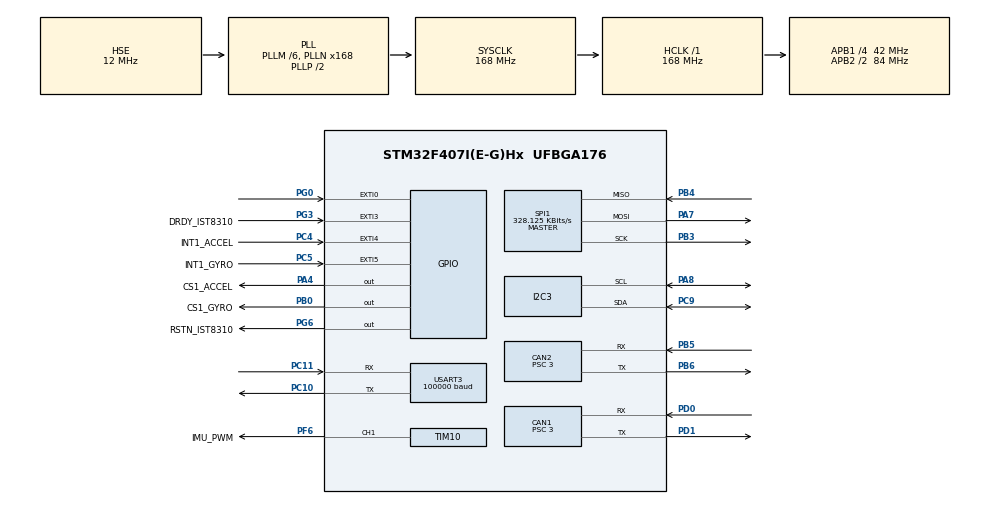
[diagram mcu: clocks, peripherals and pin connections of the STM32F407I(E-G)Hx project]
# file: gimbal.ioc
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CAN1.BS1=CAN_BS1_5TQ
CAN1.BS2=CAN_BS2_8TQ
CAN1.CalculateBaudRate=1000000
CAN1.CalculateTimeBit=1000
CAN1.CalculateTimeQuantum=71.42857142857143
CAN1.Prescaler=3
CAN2.ABOM=DISABLE
CAN2.AWUM=DISABLE
CAN2.BS1=CAN_BS1_5TQ
CAN2.BS2=CAN_BS2_8TQ
CAN2.CalculateBaudRate=1000000
CAN2.CalculateTimeBit=1000
CAN2.CalculateTimeQuantum=71.42857142857143
CAN2.Prescaler=3
Dma.Request0=SPI1_RX
Dma.Request1=SPI1_TX
Dma.Request2=USART3_RX
Dma.SPI1_RX.0.Direction=DMA_PERIPH_TO_MEMORY
Dma.SPI1_RX.0.FIFOMode=DMA_FIFOMODE_DISABLE
Dma.SPI1_RX.0.Instance=DMA2_Stream2
Dma.SPI1_RX.0.MemDataAlignment=DMA_MDATAALIGN_BYTE
Dma.SPI1_RX.0.MemInc=DMA_MINC_ENABLE
Dma.SPI1_RX.0.Mode=DMA_NORMAL
Dma.SPI1_RX.0.PeriphDataAlignment=DMA_PDATAALIGN_BYTE
Dma.SPI1_RX.0.PeriphInc=DMA_PINC_DISABLE
Dma.SPI1_RX.0.Priority=DMA_PRIORITY_VERY_HIGH
Dma.SPI1_TX.1.Direction=DMA_MEMORY_TO_PERIPH
Dma.SPI1_TX.1.FIFOMode=DMA_FIFOMODE_DISABLE
Dma.SPI1_TX.1.Instance=DMA2_Stream3
Dma.SPI1_TX.1.MemDataAlignment=DMA_MDATAALIGN_BYTE
Dma.SPI1_TX.1.MemInc=DMA_MINC_ENABLE
Dma.SPI1_TX.1.Mode=DMA_NORMAL
Dma.SPI1_TX.1.PeriphDataAlignment=DMA_PDATAALIGN_BYTE
Dma.SPI1_TX.1.PeriphInc=DMA_PINC_DISABLE
Dma.SPI1_TX.1.Priority=DMA_PRIORITY_HIGH
Dma.USART3_RX.2.Direction=DMA_PERIPH_TO_MEMORY
Dma.USART3_RX.2.FIFOMode=DMA_FIFOMODE_DISABLE
Dma.USART3_RX.2.Instance=DMA1_Stream1
Dma.USART3_RX.2.MemDataAlignment=DMA_MDATAALIGN_BYTE
Dma.USART3_RX.2.MemInc=DMA_MINC_ENABLE
Dma.USART3_RX.2.Mode=DMA_NORMAL
Dma.USART3_RX.2.PeriphDataAlignment=DMA_PDATAALIGN_BYTE
Dma.USART3_RX.2.PeriphInc=DMA_PINC_DISABLE
Dma.USART3_RX.2.Priority=DMA_PRIORITY_MEDIUM
I2C3.I2C_Mode=I2C_Fast
Mcu.Family=STM32F4
Mcu.Name=STM32F407I(E-G)Hx
Mcu.Package=UFBGA176
NVIC.CAN1_RX0_IRQn=true\:1\:0\:true\:false\:true\:true\:true\:true
NVIC.CAN1_TX_IRQn=true\:1\:0\:true\:false\:true\:true\:true\:true
NVIC.CAN2_RX0_IRQn=true\:1\:0\:true\:false\:true\:true\:true\:true
NVIC.DMA1_Stream1_IRQn=true\:0\:0\:false\:false\:true\:false\:true\:true
NVIC.DMA2_Stream2_IRQn=true\:0\:0\:true\:false\:true\:false\:true\:true
NVIC.DMA2_Stream3_IRQn=true\:0\:0\:false\:false\:true\:false\:true\:true
NVIC.EXTI0_IRQn=true\:2\:0\:true\:false\:true\:true\:true\:true
NVIC.EXTI3_IRQn=true\:1\:0\:true\:false\:true\:true\:true\:true
NVIC.EXTI4_IRQn=true\:1\:0\:true\:false\:true\:true\:true\:true
NVIC.EXTI9_5_IRQn=true\:1\:0\:true\:false\:true\:true\:true\:true
NVIC.PriorityGroup=NVIC_PRIORITYGROUP_4
NVIC.TIM2_IRQn=true\:1\:0\:true\:false\:true\:true\:true\:true
NVIC.USART3_IRQn=true\:1\:0\:true\:false\:true\:true\:true\:true
PA13.Mode=Serial_Wire
PA13.Signal=SYS_JTMS-SWDIO
PA14.Mode=Serial_Wire
PA14.Signal=SYS_JTCK-SWCLK
PA4.GPIO_Label=CS1_ACCEL
PA4.GPIO_PuPd=GPIO_PULLUP
PA4.GPIO_Speed=GPIO_SPEED_FREQ_HIGH
PA4.PinState=GPIO_PIN_SET
PA4.Signal=GPIO_Output
PA7.Mode=Full_Duplex_Master
PA7.Signal=SPI1_MOSI
PA8.Mode=I2C
PA8.Signal=I2C3_SCL
PB0.GPIO_Label=CS1_GYRO
PB0.GPIO_PuPd=GPIO_PULLUP
PB0.GPIO_Speed=GPIO_SPEED_FREQ_HIGH
PB0.PinState=GPIO_PIN_SET
PB0.Signal=GPIO_Output
PB3.Mode=Full_Duplex_Master
PB3.Signal=SPI1_SCK
PB4.Mode=Full_Duplex_Master
PB4.Signal=SPI1_MISO
PB5.Mode=CAN_Activate
PB5.Signal=CAN2_RX
PB6.Mode=CAN_Activate
PB6.Signal=CAN2_TX
PC10.Mode=Asynchronous
PC10.Signal=USART3_TX
PC11.Mode=Asynchronous
PC11.Signal=USART3_RX
PC4.GPIO_Label=INT1_ACCEL
PC4.GPIO_PuPd=GPIO_PULLUP
PC4.Signal=GPXTI4
PC5.GPIO_Label=INT1_GYRO
PC5.GPIO_PuPd=GPIO_PULLUP
PC5.Signal=GPXTI5
PC9.Mode=I2C
PC9.Signal=I2C3_SDA
PD0.Mode=CAN_Activate
PD0.Signal=CAN1_RX
PD1.Mode=CAN_Activate
PD1.Signal=CAN1_TX
PF6.GPIO_Label=IMU_PWM
PF6.GPIO_PuPd=GPIO_PULLUP
PF6.GPIO_Speed=GPIO_SPEED_FREQ_HIGH
PF6.Signal=S_TIM10_CH1
PG0.GPIO_PuPd=GPIO_PULLUP
PG0.Signal=GPXTI0
PG3.GPIO_Label=DRDY_IST8310
PG3.GPIO_PuPd=GPIO_PULLUP
PG3.Signal=GPXTI3
PG6.GPIO_Label=RSTN_IST8310
PG6.GPIO_PuPd=GPIO_PULLUP
PG6.GPIO_Speed=GPIO_SPEED_FREQ_HIGH
PG6.PinState=GPIO_PIN_SET
PG6.Signal=GPIO_Output
PH0-OSC_IN.Mode=HSE-External-Oscillator
PH0-OSC_IN.Signal=RCC_OSC_IN
PH1-OSC_OUT.Mode=HSE-External-Oscillator
PH1-OSC_OUT.Signal=RCC_OSC_OUT
ProjectManager.HeapSize=0x200
ProjectManager.StackSize=0x400
ProjectManager.TargetToolchain=MDK-ARM V5.32
RCC.48MHZClocksFreq_Value=84000000
RCC.AHBFreq_Value=168000000
RCC.APB1CLKDivider=RCC_HCLK_DIV4
RCC.APB1Freq_Value=42000000
RCC.APB1TimFreq_Value=84000000
RCC.APB2CLKDivider=RCC_HCLK_DIV2
RCC.APB2Freq_Value=84000000
RCC.APB2TimFreq_Value=168000000
RCC.CortexFreq_Value=168000000
RCC.HCLKFreq_Value=168000000
RCC.HSE_VALUE=12000000
RCC.HSI_VALUE=16000000
RCC.LSE_VALUE=32768
RCC.PLLM=6
RCC.PLLN=168
RCC.PLLSourceVirtual=RCC_PLLSOURCE_HSE
RCC.SYSCLKFreq_VALUE=168000000
RCC.SYSCLKSource=RCC_SYSCLKSOURCE_PLLCLK
RCC.VCOOutputFreq_Value=336000000
SH.S_TIM10_CH1.0=TIM10_CH1,PWM Generation1 CH1
SPI1.BaudRatePrescaler=SPI_BAUDRATEPRESCALER_256
SPI1.CLKPhase=SPI_PHASE_2EDGE
SPI1.CLKPolarity=SPI_POLARITY_HIGH
SPI1.CalculateBaudRate=328.125 KBits/s
SPI1.Direction=SPI_DIRECTION_2LINES
SPI1.Mode=SPI_MODE_MASTER
SPI1.VirtualType=VM_MASTER
TIM10.Channel=TIM_CHANNEL_1
TIM10.Period=4999
TIM2.AutoReloadPreload=TIM_AUTORELOAD_PRELOAD_ENABLE
TIM2.Period=1000-1
TIM2.Prescaler=84-1
USART3.BaudRate=100000
USART3.Parity=PARITY_EVEN
USART3.VirtualMode=VM_ASYNC
VP_TIM10_VS_ClockSourceINT.Mode=Enable_Timer
VP_TIM2_VS_ClockSourceINT.Mode=Internal
board=custom

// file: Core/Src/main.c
/* USER CODE BEGIN Header */
/**
  ******************************************************************************
  * @file           : main.c
  * @brief          : Main program body
  ******************************************************************************
  * @attention
  *
  * Copyright (c) 2024 STMicroelectronics.
  * All rights reserved.
  *
  * This software is licensed under terms that can be found in the LICENSE file
  * in the root directory of this software component.
  * If no LICENSE file comes with this software, it is provided AS-IS.
  *
  ******************************************************************************
  */
/* USER CODE END Header */
#include "main.h"
#include "can.h"
#include "dma.h"
#include "i2c.h"
#include "spi.h"
#include "tim.h"
#include "usart.h"
#include "gpio.h"

/* USER CODE BEGIN Includes */
#include "bsp_can.h"
#include "remote_control.h"
#include "CAN_receive.h"
#include "can_comm.h"
#include "gimbal.h"
#include "bsp_imu.h"
#include "delay.h"
#include "mode.h"

/* USER CODE END Includes */

void SystemClock_Config(void);

/* USER CODE BEGIN 0 */

extern MODE_t Mode;
extern gimbal_y_t gimbal_y;
extern gimbal_p_t gimbal_p;
extern gimbal_move_t gimbal_move;

extern RC_ctrl_t rc_data;
int num_flag = 0,IMU_cnt = 0,start_flag = 0,MS_Count;
int speed_g1,speed_g2,speed_g3;
int mode_s;

void HAL_TIM_PeriodElapsedCallback(TIM_HandleTypeDef *htim)
{

	if (htim == &htim2)
    {
			MS_Count++;
		if(IMU_cnt > 3)
			{
				start_flag = 1;
			}
		if(start_flag == 1)
			{
				INS_task();
				CANTX_XYZ_IMU(&rc_data,&gimbal_y,gimbal_y.IMU_actualangle);
			}
		if(MS_Count >= 1000)
			{
				MS_Count = 0;

				if(start_flag == 0)
					IMU_cnt++;
			}
		mode_select(&rc_data);
		CANTX_T_MODE(&rc_data);

				;
//		gimbal_rc_to_set(&gimbal_move);//遥控器数据传给云台电机
//		gimbal_ctrl_loop(&gimbal_move);//云台电机闭环控制
//

//       CAN_CMD_GIMBAL(gimbal_move.motor_gimbal[1].give_current,gimbal_move.motor_gimbal[2].give_current,gimbal_move.motor_gimbal[3].give_current);
//      num_flag = mode_select(&rc_data);
//     CAN_COMM_num(num_flag);
//      gimbal_rc_to_set(&gimbal_move);//遥控器数据传给云台电机
//
//      if(num_flag%2 == 0)//有力模式
//      {
//        gimbal_ctrl_loop(&gimbal_move);//云台电机闭环控制
//        CAN_CMD_GIMBAL(gimbal_move.motor_gimbal[1].give_current,gimbal_move.motor_gimbal[2].give_current,gimbal_move.motor_gimbal[3].give_current);
//      }
//      else
//      {
//        CAN_CMD_GIMBAL(0,0,0);
//      }

	}

}
/* USER CODE END 0 */

int main(void)
{

  /* MCU Configuration--------------------------------------------------------*/

  /* Reset of all peripherals, Initializes the Flash interface and the Systick. */
  HAL_Init();

  /* Configure the system clock */
  SystemClock_Config();

  /* Initialize all configured peripherals */
  MX_GPIO_Init();
  MX_DMA_Init();
  MX_CAN1_Init();
  MX_CAN2_Init();
  MX_TIM2_Init();
  MX_I2C3_Init();
  MX_SPI1_Init();
  MX_TIM10_Init();
  MX_USART3_UART_Init();
  /* USER CODE BEGIN 2 */

	rc_init();
	can_filter_init();
	gimbal_init(&gimbal_move);

  HAL_TIM_Base_Start(&htim10);
  HAL_TIM_PWM_Start(&htim10, TIM_CHANNEL_1);
  delay_init();
  IMU_Init();

  HAL_TIM_Base_Start_IT(&htim2);

  /* USER CODE END 2 */

  /* Infinite loop */
  while (1)
  {

  }
}

void SystemClock_Config(void)
{
  RCC_OscInitTypeDef RCC_OscInitStruct = {0};
  RCC_ClkInitTypeDef RCC_ClkInitStruct = {0};

  /** Configure the main internal regulator output voltage
  */
  __HAL_RCC_PWR_CLK_ENABLE();
  __HAL_PWR_VOLTAGESCALING_CONFIG(PWR_REGULATOR_VOLTAGE_SCALE1);

  /** Initializes the RCC Oscillators according to the specified parameters
  * in the RCC_OscInitTypeDef structure.
  */
  RCC_OscInitStruct.OscillatorType = RCC_OSCILLATORTYPE_HSE;
  RCC_OscInitStruct.HSEState = RCC_HSE_ON;
  RCC_OscInitStruct.PLL.PLLState = RCC_PLL_ON;
  RCC_OscInitStruct.PLL.PLLSource = RCC_PLLSOURCE_HSE;
  RCC_OscInitStruct.PLL.PLLM = 6;
  RCC_OscInitStruct.PLL.PLLN = 168;
  RCC_OscInitStruct.PLL.PLLP = RCC_PLLP_DIV2;
  RCC_OscInitStruct.PLL.PLLQ = 4;
  if (HAL_RCC_OscConfig(&RCC_OscInitStruct) != HAL_OK)
  {
    Error_Handler();
  }

  /** Initializes the CPU, AHB and APB buses clocks
  */
  RCC_ClkInitStruct.ClockType = RCC_CLOCKTYPE_HCLK|RCC_CLOCKTYPE_SYSCLK
                              |RCC_CLOCKTYPE_PCLK1|RCC_CLOCKTYPE_PCLK2;
  RCC_ClkInitStruct.SYSCLKSource = RCC_SYSCLKSOURCE_PLLCLK;
  RCC_ClkInitStruct.AHBCLKDivider = RCC_SYSCLK_DIV1;
  RCC_ClkInitStruct.APB1CLKDivider = RCC_HCLK_DIV4;
  RCC_ClkInitStruct.APB2CLKDivider = RCC_HCLK_DIV2;

  if (HAL_RCC_ClockConfig(&RCC_ClkInitStruct, FLASH_LATENCY_5) != HAL_OK)
  {
    Error_Handler();
  }
}

void Error_Handler(void)
{
  __disable_irq();
  while (1)
  {
  }
}
